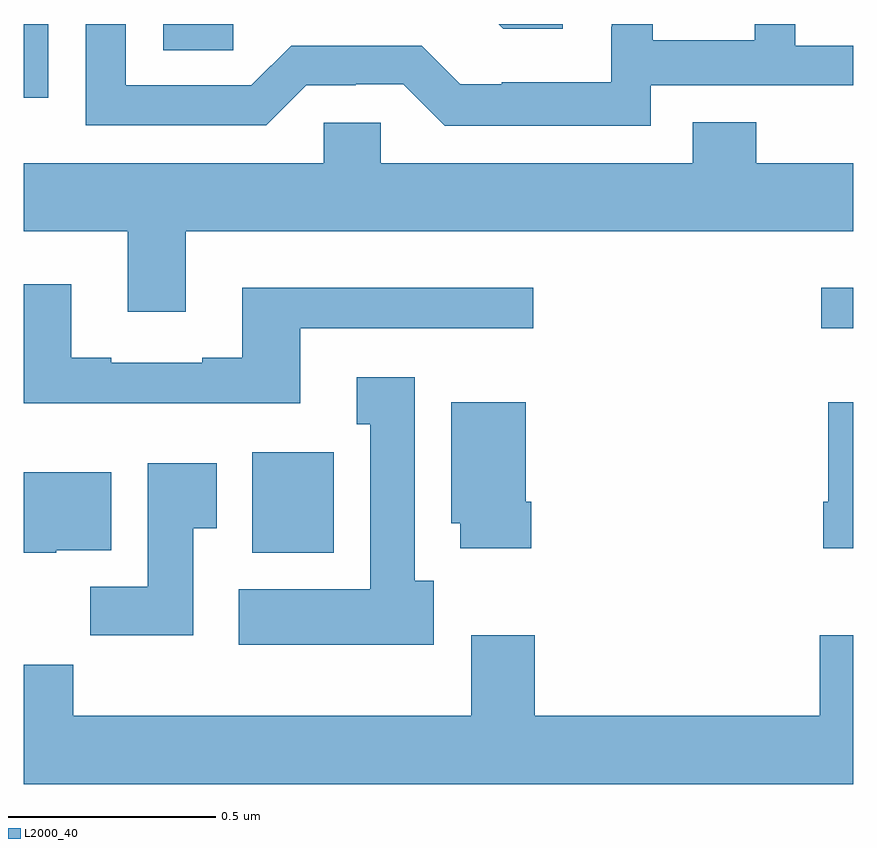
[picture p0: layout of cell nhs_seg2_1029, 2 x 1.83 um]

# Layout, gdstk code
import gdstk
lib = gdstk.Library(unit=1e-6, precision=1e-09)
def R(c, l, rs):  # rectangles x0, y0, x1, y1
    for r in rs: c.add(gdstk.rectangle(r[:2], r[2:], *l))
def P(c, l, *ps):  # polygons
    for p in ps: c.add(gdstk.Polygon(p, *l))
L2000_40 = (2000, 40)

nhs_seg2_1029 = lib.new_cell('nhs_seg2_1029')
R(nhs_seg2_1029, L2000_40, [(123.551,649.526,123.748,649.768), (124.923,650.067,125,650.164), (123,650.622,123.059,650.8), (123.336,650.737,123.505,650.8)])
P(nhs_seg2_1029, L2000_40, [(124.3,650.8),(124.145,650.8),(124.156,650.789),(124.3,650.789)],
  [(124.512,650.652),(125,650.652),(125,650.748),(124.86,650.748),(124.86,650.8),(124.762,650.8),(124.762,650.761),(124.517,650.761),(124.517,650.8),(124.418,650.8),(124.418,650.793),(124.416,650.793),(124.416,650.659),(124.153,650.659),(124.153,650.655),(124.053,650.655),(123.96,650.748),(123.645,650.748),(123.549,650.652),(123.246,650.652),(123.246,650.8),(123.15,650.8),(123.15,650.556),(123.585,650.556),(123.681,650.652),(123.8,650.652),(123.8,650.655),(123.915,650.655),(124.015,650.555),(124.512,650.555)],
  [(123.391,650.3),(125,650.3),(125,650.464),(124.766,650.464),(124.766,650.563),(124.613,650.563),(124.613,650.464),(123.861,650.464),(123.861,650.562),(123.723,650.562),(123.723,650.464),(123,650.464),(123,650.3),(123.251,650.3),(123.251,650.106),(123.391,650.106)],
  [(123.667,650.067),(124.228,650.067),(124.228,650.164),(123.527,650.164),(123.527,649.996),(123.431,649.996),(123.431,649.983),(123.211,649.983),(123.211,649.996),(123.115,649.996),(123.115,650.173),(123,650.173),(123,649.886),(123.667,649.886)],
  [(123.988,649.458),(123.943,649.458),(123.943,649.948),(123.803,649.948),(123.803,649.835),(123.836,649.835),(123.836,649.438),(123.519,649.438),(123.519,649.304),(123.988,649.304)],
  [(125,649.888),(124.94,649.888),(124.94,649.648),(124.928,649.648),(124.928,649.536),(125,649.536)],
  [(124.223,649.648),(124.21,649.648),(124.21,649.888),(124.031,649.888),(124.031,649.596),(124.052,649.596),(124.052,649.536),(124.223,649.536)],
  [(123.409,649.585),(123.466,649.585),(123.466,649.741),(123.299,649.741),(123.299,649.444),(123.16,649.444),(123.16,649.326),(123.409,649.326)],
  [(123.078,649.532),(123.211,649.532),(123.211,649.72),(123,649.72),(123,649.526),(123.078,649.526)],
  [(125,649.327),(124.919,649.327),(124.919,649.132),(124.232,649.132),(124.232,649.327),(124.079,649.327),(124.079,649.132),(123.119,649.132),(123.119,649.256),(123,649.256),(123,648.968),(125,648.968)])

lib.write_gds('nhs_seg2_1029.gds')
